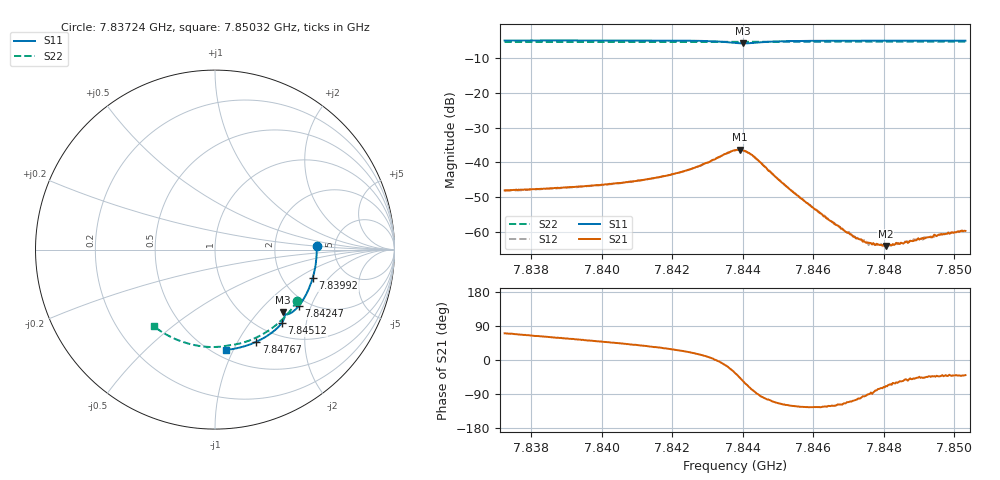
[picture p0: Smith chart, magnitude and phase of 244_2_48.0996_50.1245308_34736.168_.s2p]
#  HZ  S  RI  R  50.00
! Rohde & Schwarz Vector Network Analyzer
! Rohde-Schwarz,ZNB20-2Port,1311601062101988,3.16
! Created: UTC 12/23/2023, 3:59:05 AM
! freq[Hz]  re:S11  im:S11  re:S21  im:S21  re:S12  im:S12  re:S22  im:S22
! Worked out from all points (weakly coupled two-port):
!   401 points, 7.83724 GHz to 7.85032 GHz, reference 50 ohm
!   highest |S21| = -36.34 dB at 7.84391 GHz (marker M1); lowest = -64.0 dB at 7.84807 GHz (marker M2)
!   lowest |S11| = -5.8 dB at 7.84401 GHz (marker M3), VSWR 3.12, Z = 72 - j68.6 ohm
!   |S11| at or under -10 dB: nowhere
!   |S22| runs from -5.4 to -5.3 dB; largest |S21 - S12| = 0.00032
!   S11 on the Smith chart (normalised r, x): 7.83724 GHz: 3.60, +0.21; 7.83992 GHz: 2.93, -1.35; 7.84247 GHz: 1.78, -1.64; 7.84512 GHz: 1.24, -1.46; 7.84767 GHz: 0.80, -1.20; 7.85032 GHz: 0.57, -0.94
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7.83724e9  0.5659 0.0203  0.00133 0.00373  0.00132 0.00362  0.4588 -0.2842
7.839432e9  0.553 -0.1249  0.00273 0.00361  0.0027 0.00355  0.3611 -0.4023
7.839922e9  0.5447 -0.1569  0.00309 0.00356  0.00304 0.00353  0.3348 -0.4244
7.841623e9  0.5 -0.2643  0.00515 0.00334  0.00511 0.00331  0.2341 -0.4881
7.842474e9  0.4656 -0.3153  0.00736 0.00279  0.0073 0.00279  0.1787 -0.5109
7.843292e9  0.4165 -0.3564  0.0117 -0.000563  0.0116 -0.000485  0.1233 -0.5263
7.843782e9  0.3811 -0.3578  0.0123 -0.00847  0.0124 -0.00817  0.0903 -0.5315
7.843913e9  0.3773 -0.3529  0.0106 -0.011  0.0106 -0.0109  0.0821 -0.5326
7.844011e9  0.3772 -0.35  0.00829 -0.0122  0.0085 -0.0122  0.0759 -0.5336
7.844208e9  0.3826 -0.3502  0.00386 -0.0128  0.00385 -0.0128  0.0638 -0.5358
7.844371e9  0.387 -0.357  0.000772 -0.0114  0.000724 -0.0115  0.0527 -0.5377
7.845123e9  0.3724 -0.4079  -0.00228 -0.00453  -0.00227 -0.00459  8.53e-05 -0.5426
7.845974e9  0.3299 -0.4524  -0.00128 -0.00186  -0.00132 -0.00189  -0.06 -0.5403
7.846923e9  0.276 -0.4898  -0.000419 -0.000918  -0.000422 -0.000942  -0.1257 -0.5296
7.847184e9  0.2604 -0.4986  -0.000235 -0.000815  -0.000227 -0.000827  -0.1436 -0.5255
7.847544e9  0.2386 -0.5096  -1.08e-05 -0.000701  -2.14e-05 -0.0007  -0.1679 -0.5181
7.847675e9  0.2307 -0.5135  8.1e-06 -0.000661  7.81e-06 -0.000677  -0.1767 -0.5154
7.848068e9  0.2062 -0.5238  0.000231 -0.000587  0.000214 -0.000601  -0.2026 -0.506
7.848166e9  0.2003 -0.5263  0.000279 -0.000603  0.000259 -0.000587  -0.2088 -0.5034
7.848624e9  0.1712 -0.5363  0.000451 -0.000556  0.000464 -0.000564  -0.2384 -0.4905
7.849507e9  0.1143 -0.551  0.000651 -0.000577  0.000653 -0.000612  -0.2926 -0.4606
7.850325e9  0.0602 -0.5592  0.000794 -0.000666  0.000804 -0.000689  -0.3396 -0.4279
